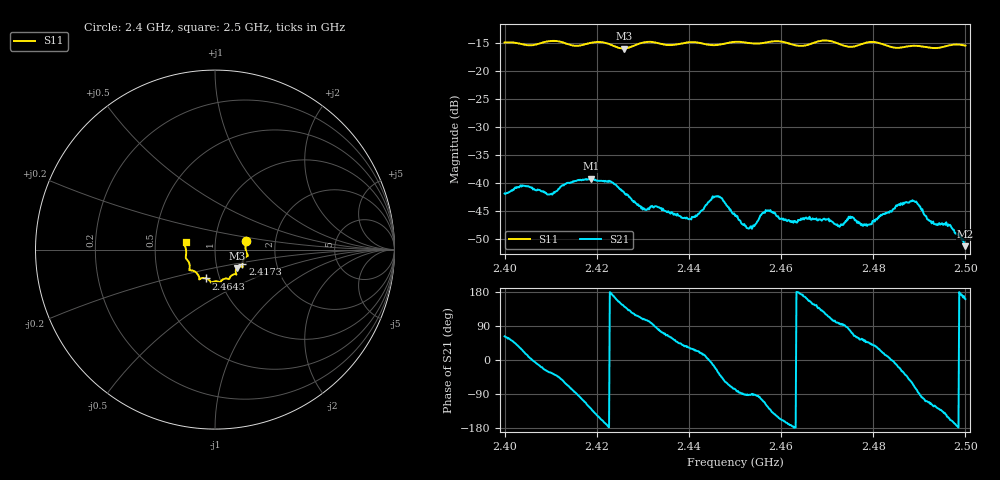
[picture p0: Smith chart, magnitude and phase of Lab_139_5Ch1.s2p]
# Hz S RI R 50
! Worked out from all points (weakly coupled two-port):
!   601 points, 2.4 GHz to 2.5 GHz, reference 50 ohm
!   highest |S21| = -39.28 dB at 2.4188 GHz (marker M1); lowest = -51.4 dB at 2.5 GHz (marker M2)
!   lowest |S11| = -15.9 dB at 2.4258 GHz (marker M3), VSWR 1.38, Z = 62.3 - j13.2 ohm
!   |S11| at or under -10 dB: start of sweep to end of sweep
!   S12 and S22 are empty: the file has one direction only
!   S11 on the Smith chart (normalised r, x): 2.4 GHz: 1.41, +0.14; 2.4173 GHz: 1.34, -0.23; 2.4643 GHz: 0.86, -0.28; 2.5 GHz: 0.72, +0.06
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2.4e9  0.1735 0.0491  0.00369 0.00711  0 0  0 0
2.404e9  0.1718 0.0253  0.00864 0.00375  0 0  0 0
2.41e9  0.1835 -0.0323  0.00665 -0.00431  0 0  0 0
2.416667e9  0.1534 -0.0748  -0.00215 -0.0103  0 0  0 0
2.417333e9  0.1526 -0.0824  -0.00374 -0.01  0 0  0 0
2.418833e9  0.1531 -0.0944  -0.00691 -0.00838  0 0  0 0
2.425833e9  0.1217 -0.1031  -0.00665 0.00499  0 0  0 0
2.430167e9  0.1183 -0.1367  -0.0019 0.0056  0 0  0 0
2.433333e9  0.1131 -0.1372  0.00103 0.00594  0 0  0 0
2.440167e9  0.0792 -0.1636  0.004 0.00251  0 0  0 0
2.446167e9  0.0463 -0.1655  0.00656 -0.00371  0 0  0 0
2.45e9  0.0294 -0.1809  0.00117 -0.00492  0 0  0 0
2.453167e9  0.0166 -0.1774  -0.00012 -0.00391  0 0  0 0
2.457167e9  -0.0143 -0.1813  -0.00319 -0.00469  0 0  0 0
2.464333e9  -0.05 -0.1606  -0.00476 0.00055  0 0  0 0
2.466667e9  -0.0759 -0.1596  -0.00405 0.00235  0 0  0 0
2.478167e9  -0.1361 -0.1158  0.00261 0.00334  0 0  0 0
2.483333e9  -0.1407 -0.0902  0.00543 0.000674  0 0  0 0
2.489e9  -0.1626 -0.0455  0.00211 -0.00644  0 0  0 0
2.492167e9  -0.1607 -0.0236  -0.00166 -0.00425  0 0  0 0
2.496333e9  -0.1684 0.0217  -0.00376 -0.00194  0 0  0 0
2.5e9  -0.1638 0.042  -0.00255 0.000895  0 0  0 0
